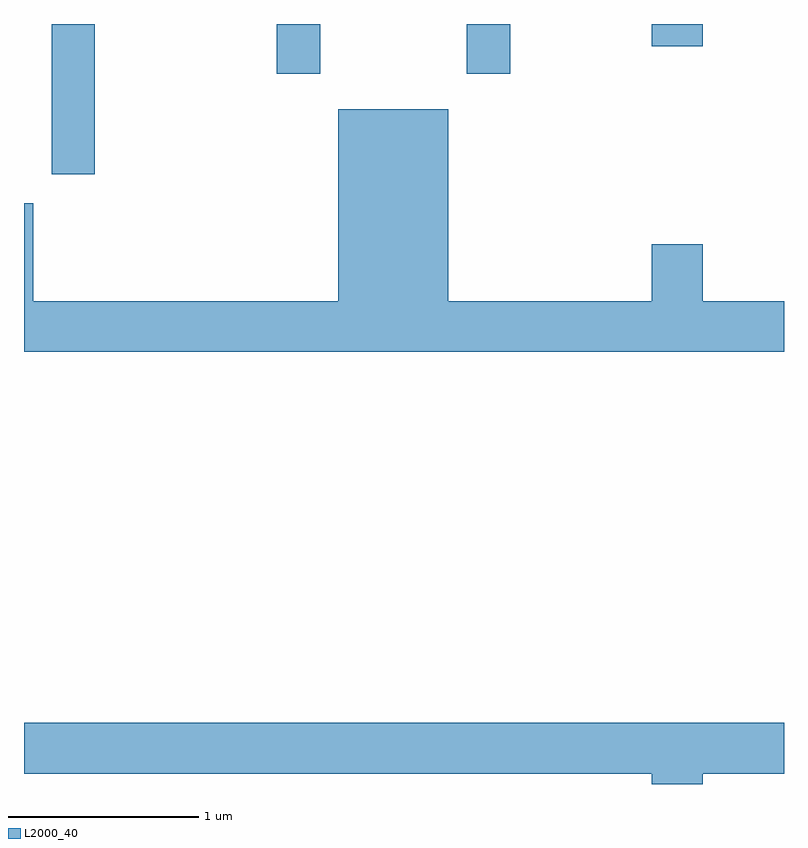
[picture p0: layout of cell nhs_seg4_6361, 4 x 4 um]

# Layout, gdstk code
import gdstk
lib = gdstk.Library(unit=1e-6, precision=1e-09)
def R(c, l, rs):  # rectangles x0, y0, x1, y1
    for r in rs: c.add(gdstk.rectangle(r[:2], r[2:], *l))
def P(c, l, *ps):  # polygons
    for p in ps: c.add(gdstk.Polygon(p, *l))
L2000_40 = (2000, 40)

nhs_seg4_6361 = lib.new_cell('nhs_seg4_6361')
R(nhs_seg4_6361, L2000_40, [(371.756,1331.191,371.984,1331.982), (372.941,1331.721,373.169,1331.982), (373.941,1331.721,374.169,1331.982), (374.916,1331.866,375.184,1331.982)])
P(nhs_seg4_6361, L2000_40, [(375.611,1330.524),(375.184,1330.524),(375.184,1330.824),(374.916,1330.824),(374.916,1330.524),(373.844,1330.524),(373.844,1331.534),(373.266,1331.534),(373.266,1330.524),(371.659,1330.524),(371.659,1331.039),(371.611,1331.039),(371.611,1330.256),(375.611,1330.256)],
  [(375.184,1328.036),(375.611,1328.036),(375.611,1328.304),(371.611,1328.304),(371.611,1328.036),(374.916,1328.036),(374.916,1327.982),(375.184,1327.982)])

lib.write_gds('nhs_seg4_6361.gds')
